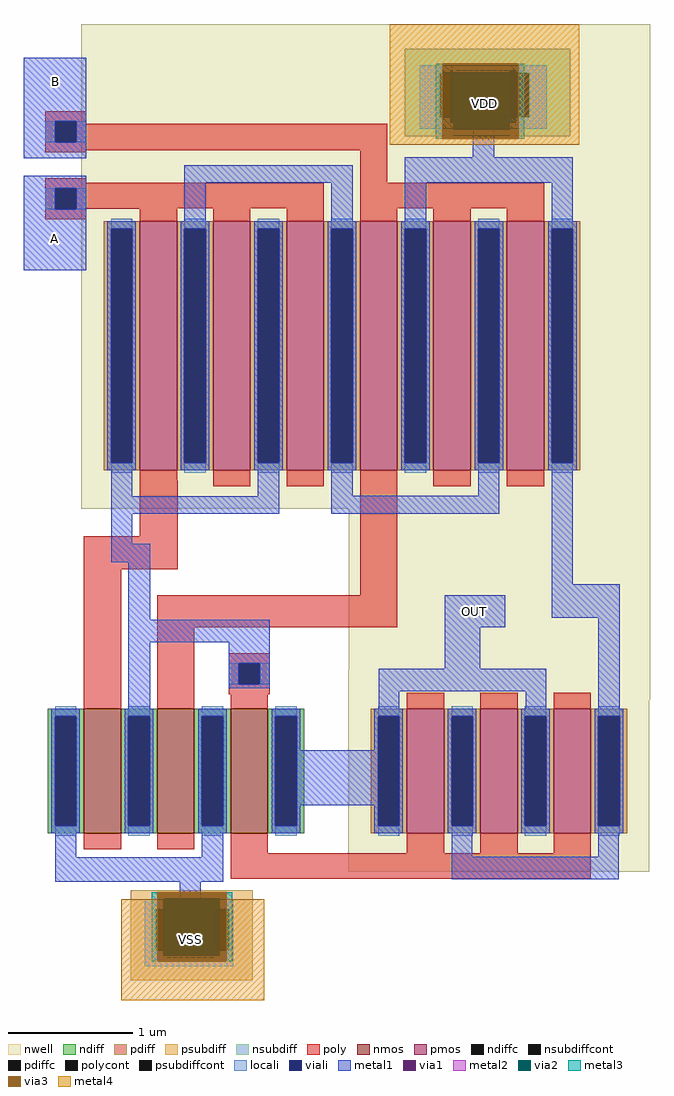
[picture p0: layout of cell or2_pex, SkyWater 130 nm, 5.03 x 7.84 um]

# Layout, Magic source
magic
tech sky130B
magscale 1 2
<< nwell >>
rect 458 725 1372 1504
rect 888 466 1372 725
rect 887 418 1372 466
rect 887 142 1371 418
<< nmos >>
rect 462 204 522 404
rect 580 204 640 404
rect 698 204 758 404
<< pmos >>
rect 552 787 612 1187
rect 670 787 730 1187
rect 788 787 848 1187
rect 906 787 966 1187
rect 1024 787 1084 1187
rect 1142 787 1202 1187
rect 981 204 1041 404
rect 1099 204 1159 404
rect 1217 204 1277 404
<< ndiff >>
rect 404 392 462 404
rect 404 216 416 392
rect 450 216 462 392
rect 404 204 462 216
rect 522 392 580 404
rect 522 216 534 392
rect 568 216 580 392
rect 522 204 580 216
rect 640 392 698 404
rect 640 216 652 392
rect 686 216 698 392
rect 640 204 698 216
rect 758 392 816 404
rect 758 216 770 392
rect 804 216 816 392
rect 758 204 816 216
<< pdiff >>
rect 494 1175 552 1187
rect 494 799 506 1175
rect 540 799 552 1175
rect 494 787 552 799
rect 612 1175 670 1187
rect 612 799 624 1175
rect 658 799 670 1175
rect 612 787 670 799
rect 730 1175 788 1187
rect 730 799 742 1175
rect 776 799 788 1175
rect 730 787 788 799
rect 848 1175 906 1187
rect 848 799 860 1175
rect 894 799 906 1175
rect 848 787 906 799
rect 966 1175 1024 1187
rect 966 799 978 1175
rect 1012 799 1024 1175
rect 966 787 1024 799
rect 1084 1175 1142 1187
rect 1084 799 1096 1175
rect 1130 799 1142 1175
rect 1084 787 1142 799
rect 1202 1175 1260 1187
rect 1202 799 1214 1175
rect 1248 799 1260 1175
rect 1202 787 1260 799
rect 923 392 981 404
rect 923 216 935 392
rect 969 216 981 392
rect 923 204 981 216
rect 1041 392 1099 404
rect 1041 216 1053 392
rect 1087 216 1099 392
rect 1041 204 1099 216
rect 1159 392 1217 404
rect 1159 216 1171 392
rect 1205 216 1217 392
rect 1159 204 1217 216
rect 1277 392 1335 404
rect 1277 216 1289 392
rect 1323 216 1335 392
rect 1277 204 1335 216
<< ndiffc >>
rect 416 216 450 392
rect 534 216 568 392
rect 652 216 686 392
rect 770 216 804 392
<< pdiffc >>
rect 506 799 540 1175
rect 624 799 658 1175
rect 742 799 776 1175
rect 860 799 894 1175
rect 978 799 1012 1175
rect 1096 799 1130 1175
rect 1214 799 1248 1175
rect 935 216 969 392
rect 1053 216 1087 392
rect 1171 216 1205 392
rect 1289 216 1323 392
<< psubdiff >>
rect 538 82 734 112
rect 538 16 578 82
rect 696 16 734 82
rect 538 -32 734 16
<< nsubdiff >>
rect 978 1426 1244 1464
rect 978 1354 1034 1426
rect 1178 1354 1244 1426
rect 978 1324 1244 1354
<< psubdiffcont >>
rect 578 16 696 82
<< nsubdiffcont >>
rect 1034 1354 1178 1426
<< poly >>
rect 400 1348 466 1364
rect 400 1314 416 1348
rect 450 1344 466 1348
rect 450 1314 950 1344
rect 400 1301 950 1314
rect 400 1298 466 1301
rect 400 1249 466 1256
rect 906 1249 950 1301
rect 400 1240 848 1249
rect 400 1206 416 1240
rect 450 1208 848 1240
rect 450 1207 612 1208
rect 450 1206 466 1207
rect 400 1190 466 1206
rect 552 1187 612 1207
rect 670 1187 730 1208
rect 788 1187 848 1208
rect 906 1208 1202 1249
rect 906 1187 966 1208
rect 1024 1187 1084 1208
rect 1142 1187 1202 1208
rect 552 770 612 787
rect 552 681 613 770
rect 670 761 730 787
rect 788 761 848 787
rect 462 628 613 681
rect 462 404 522 628
rect 906 586 966 787
rect 1024 761 1084 787
rect 1142 761 1202 787
rect 580 535 966 586
rect 580 404 640 535
rect 695 477 761 493
rect 695 443 711 477
rect 745 443 761 477
rect 695 427 761 443
rect 698 404 758 427
rect 981 404 1041 430
rect 1099 404 1159 430
rect 1217 404 1277 430
rect 462 178 522 204
rect 580 178 640 204
rect 698 172 758 204
rect 981 172 1041 204
rect 1099 172 1159 204
rect 1217 172 1277 204
rect 698 131 1277 172
<< polycont >>
rect 416 1314 450 1348
rect 416 1206 450 1240
rect 711 443 745 477
<< locali >>
rect 1002 1426 1206 1438
rect 1002 1354 1034 1426
rect 1178 1354 1206 1426
rect 1002 1352 1064 1354
rect 1144 1352 1206 1354
rect 400 1314 416 1348
rect 450 1314 466 1348
rect 1002 1336 1206 1352
rect 400 1206 416 1240
rect 450 1206 466 1240
rect 506 1175 540 1191
rect 506 783 540 799
rect 624 1175 658 1191
rect 624 783 658 799
rect 742 1175 776 1191
rect 742 783 776 799
rect 860 1175 894 1191
rect 860 783 894 799
rect 978 1175 1012 1191
rect 978 783 1012 799
rect 1096 1175 1130 1191
rect 1096 783 1130 799
rect 1214 1175 1248 1191
rect 1214 783 1248 799
rect 695 443 711 477
rect 745 443 761 477
rect 416 392 450 408
rect 416 200 450 216
rect 534 392 568 408
rect 534 200 568 216
rect 652 392 686 408
rect 652 200 686 216
rect 770 392 804 408
rect 770 200 804 216
rect 935 392 969 408
rect 935 200 969 216
rect 1053 392 1087 408
rect 1053 200 1087 216
rect 1171 392 1205 408
rect 1171 200 1205 216
rect 1289 392 1323 408
rect 1289 200 1323 216
rect 560 86 702 98
rect 560 82 600 86
rect 666 82 702 86
rect 560 16 578 82
rect 696 16 702 82
rect 560 -10 702 16
<< viali >>
rect 1064 1354 1144 1424
rect 1064 1352 1144 1354
rect 416 1314 450 1348
rect 416 1206 450 1240
rect 506 799 540 1175
rect 624 799 658 1175
rect 742 799 776 1175
rect 860 799 894 1175
rect 978 799 1012 1175
rect 1096 799 1130 1175
rect 1214 799 1248 1175
rect 711 443 745 477
rect 416 216 450 392
rect 534 216 568 392
rect 652 216 686 392
rect 770 216 804 392
rect 935 216 969 392
rect 1053 216 1087 392
rect 1171 216 1205 392
rect 1289 216 1323 392
rect 600 82 666 86
rect 600 16 666 82
<< metal1 >>
rect 366 1348 466 1450
rect 366 1314 416 1348
rect 450 1314 466 1348
rect 1052 1424 1156 1430
rect 1052 1352 1064 1424
rect 1144 1352 1156 1424
rect 1052 1346 1156 1352
rect 366 1288 466 1314
rect 1087 1290 1122 1346
rect 366 1240 466 1260
rect 366 1206 416 1240
rect 450 1206 466 1240
rect 366 1108 466 1206
rect 624 1249 894 1277
rect 624 1187 658 1249
rect 860 1187 894 1249
rect 978 1249 1248 1290
rect 978 1187 1012 1249
rect 1214 1187 1248 1249
rect 500 1175 546 1187
rect 500 799 506 1175
rect 540 799 546 1175
rect 500 787 546 799
rect 618 1175 664 1187
rect 618 799 624 1175
rect 658 799 664 1175
rect 618 787 664 799
rect 736 1175 782 1187
rect 736 799 742 1175
rect 776 799 782 1175
rect 736 787 782 799
rect 854 1175 900 1187
rect 854 799 860 1175
rect 894 799 900 1175
rect 854 787 900 799
rect 972 1175 1018 1187
rect 972 799 978 1175
rect 1012 799 1018 1175
rect 972 787 1018 799
rect 1090 1175 1136 1187
rect 1090 799 1096 1175
rect 1130 799 1136 1175
rect 1090 787 1136 799
rect 1208 1175 1254 1187
rect 1208 799 1214 1175
rect 1248 799 1254 1175
rect 1208 787 1254 799
rect 506 745 540 787
rect 742 745 776 787
rect 506 717 776 745
rect 860 746 894 787
rect 1096 746 1130 787
rect 860 717 1130 746
rect 506 669 540 717
rect 506 639 569 669
rect 534 547 569 639
rect 1214 604 1248 787
rect 534 511 761 547
rect 534 404 569 511
rect 695 477 761 511
rect 695 443 711 477
rect 745 443 761 477
rect 1042 535 1139 586
rect 1214 550 1323 604
rect 1042 468 1099 535
rect 695 437 761 443
rect 936 432 1205 468
rect 936 404 969 432
rect 1172 404 1205 432
rect 1289 404 1323 550
rect 410 392 456 404
rect 410 216 416 392
rect 450 216 456 392
rect 410 204 456 216
rect 528 392 574 404
rect 528 216 534 392
rect 568 216 574 392
rect 528 204 574 216
rect 646 392 692 404
rect 646 216 652 392
rect 686 216 692 392
rect 646 204 692 216
rect 764 392 810 404
rect 764 216 770 392
rect 804 337 810 392
rect 929 392 975 404
rect 929 337 935 392
rect 804 249 935 337
rect 804 216 810 249
rect 764 204 810 216
rect 929 216 935 249
rect 969 216 975 392
rect 929 204 975 216
rect 1047 392 1093 404
rect 1047 216 1053 392
rect 1087 216 1093 392
rect 1047 204 1093 216
rect 1165 392 1211 404
rect 1165 216 1171 392
rect 1205 216 1211 392
rect 1165 204 1211 216
rect 1283 392 1329 404
rect 1283 216 1289 392
rect 1323 216 1329 392
rect 1283 204 1329 216
rect 416 165 450 204
rect 652 165 686 204
rect 416 126 686 165
rect 1053 166 1086 204
rect 1289 166 1322 204
rect 1053 130 1322 166
rect 616 98 650 126
rect 594 86 672 98
rect 594 16 600 86
rect 666 16 672 86
rect 594 4 672 16
<< via1 >>
rect 1078 1353 1130 1405
rect 607 29 659 81
<< metal2 >>
rect 1056 1426 1146 1436
rect 1056 1325 1146 1335
rect 591 99 681 109
rect 591 -2 681 8
<< via2 >>
rect 1056 1405 1146 1426
rect 1056 1353 1078 1405
rect 1078 1353 1130 1405
rect 1130 1353 1146 1405
rect 1056 1335 1146 1353
rect 591 81 681 99
rect 591 29 607 81
rect 607 29 659 81
rect 659 29 681 81
rect 591 8 681 29
<< metal3 >>
rect 1028 1320 1038 1440
rect 1160 1320 1170 1440
rect 571 -2 581 109
rect 691 -2 701 109
<< via3 >>
rect 1038 1426 1160 1440
rect 1038 1335 1056 1426
rect 1056 1335 1146 1426
rect 1146 1335 1160 1426
rect 1038 1320 1160 1335
rect 581 99 691 109
rect 581 8 591 99
rect 591 8 681 99
rect 681 8 691 99
rect 581 -2 691 8
<< metal4 >>
rect 954 1440 1258 1504
rect 954 1320 1038 1440
rect 1160 1320 1258 1440
rect 954 1310 1258 1320
rect 580 109 692 110
rect 580 98 581 109
rect 522 -2 581 98
rect 691 98 692 109
rect 691 -2 752 98
rect 522 -64 752 -2
<< labels >>
flabel metal1 1049 541 1132 580 1 FreeSans 240 0 0 0 OUT
port 6 n
flabel metal4 1024 1320 1188 1432 1 FreeSerif 560 0 0 0 VDD
port 9 n
flabel metal4 548 -22 720 88 1 FreeSerif 560 0 0 0 VSS
port 10 n
flabel metal1 366 1110 464 1208 1 FreeSerif 480 0 0 0 A
port 14 n
flabel metal1 368 1378 466 1446 1 FreeSerif 480 0 0 0 B
port 15 n
<< end >>
